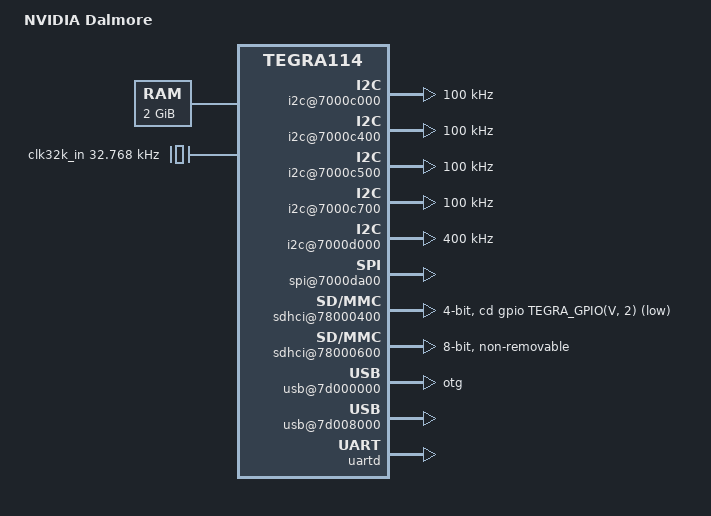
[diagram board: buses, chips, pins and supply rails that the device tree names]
/dts-v1/;

#include "tegra114.dtsi"

/ {
	model = "NVIDIA Dalmore";
	compatible = "nvidia,dalmore", "nvidia,tegra114";

	chosen {
		stdout-path = &uartd;
	};

	aliases {
		i2c0 = "/i2c@7000d000";
		i2c1 = "/i2c@7000c000";
		i2c2 = "/i2c@7000c400";
		i2c3 = "/i2c@7000c500";
		i2c4 = "/i2c@7000c700";
		mmc0 = "/sdhci@78000600";
		mmc1 = "/sdhci@78000400";
		usb0 = "/usb@7d000000";
		usb1 = "/usb@7d008000";
	};

	memory {
		device_type = "memory";
		reg = <0x80000000 0x80000000>;
	};

	i2c@7000c000 {
		status = "okay";
		clock-frequency = <100000>;
	};

	i2c@7000c400 {
		status = "okay";
		clock-frequency = <100000>;
	};

	i2c@7000c500 {
		status = "okay";
		clock-frequency = <100000>;
	};

	i2c@7000c700 {
		status = "okay";
		clock-frequency = <100000>;
	};

	i2c@7000d000 {
		status = "okay";
		clock-frequency = <400000>;
	};

	spi@7000da00 {
		status = "okay";
		spi-max-frequency = <25000000>;
	};

	sdhci@78000400 {
		cd-gpios = <&gpio TEGRA_GPIO(V, 2) GPIO_ACTIVE_LOW>;
		bus-width = <4>;
		status = "okay";
	};

	sdhci@78000600 {
		bus-width = <8>;
		status = "okay";
		non-removable;
	};

	usb@7d000000 {
		status = "okay";
		dr_mode = "otg";
		nvidia,vbus-gpio = <&gpio TEGRA_GPIO(N, 4) GPIO_ACTIVE_HIGH>;
	};

	usb@7d008000 {
		nvidia,vbus-gpio = <&gpio TEGRA_GPIO(K, 6) GPIO_ACTIVE_HIGH>;
		status = "okay";
	};

	clocks {
		compatible = "simple-bus";
		#address-cells = <1>;
		#size-cells = <0>;

		clk32k_in: clock@0 {
			compatible = "fixed-clock";
			reg=<0>;
			#clock-cells = <0>;
			clock-frequency = <32768>;
		};
	};
};

&uartd {
	status = "okay";
};
